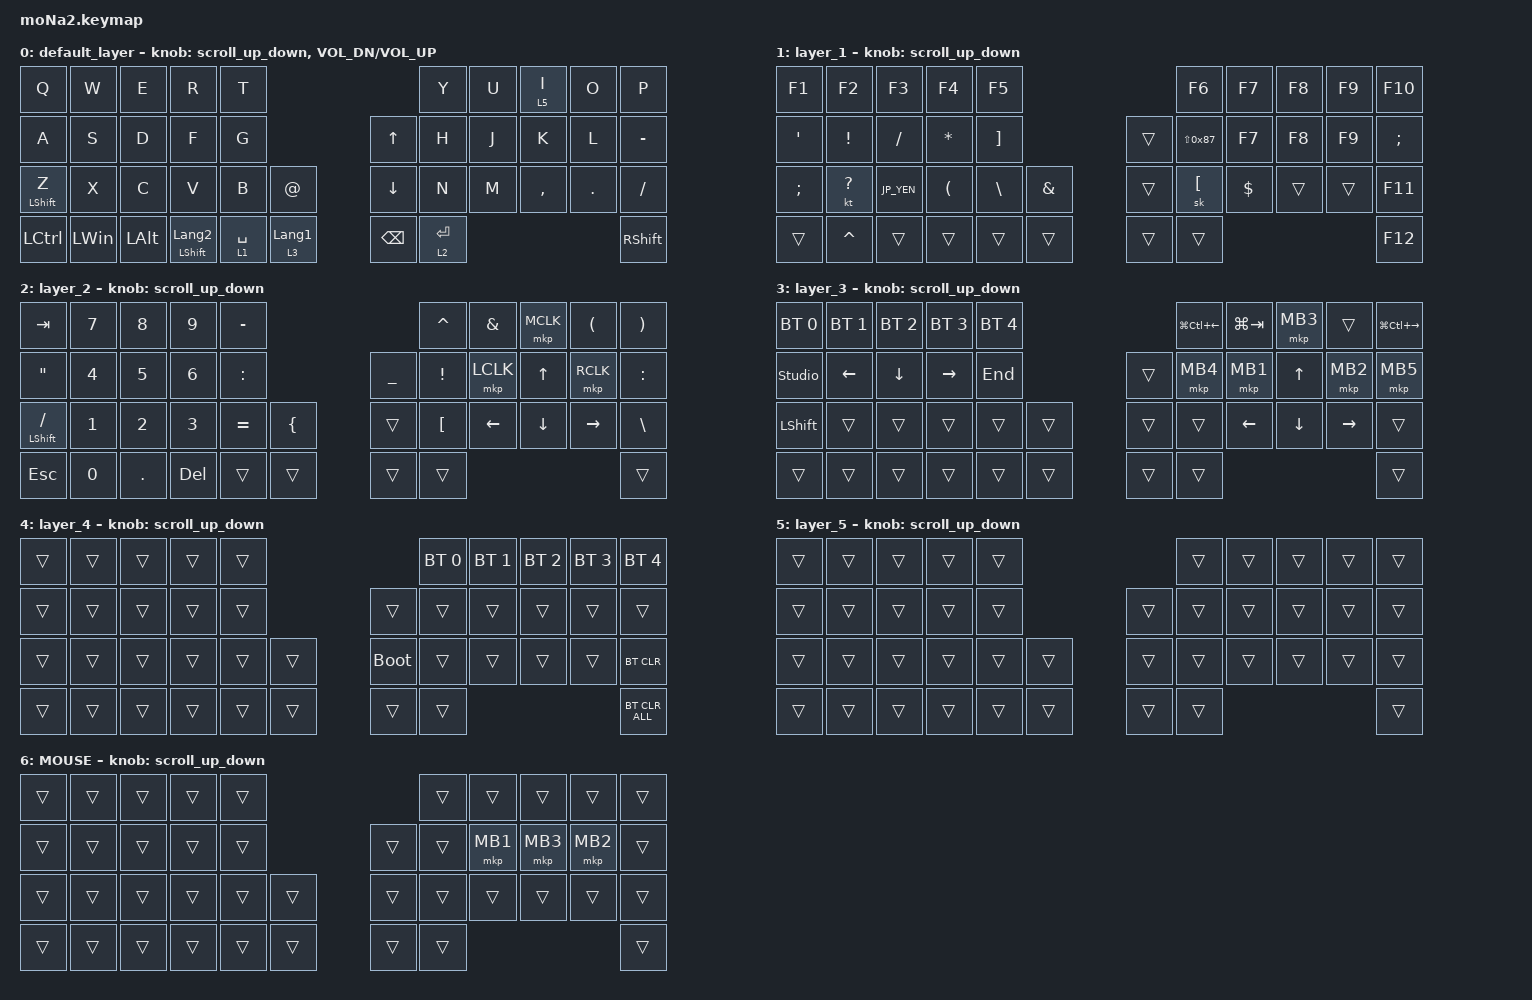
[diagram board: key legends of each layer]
#include <layout_shift.dtsi>
#include <behaviors.dtsi>
#include <dt-bindings/zmk/bt.h>
#include <dt-bindings/zmk/keys.h>
#include <dt-bindings/zmk/pointing.h>

#define ZMK_POINTING_DEFAULT_SCRL_VAL 100
#define MOUSE 6

// OS設定を日本語キーボードのまま使用するための変換定義

#define JP_DQUOTE       AT                // "
#define JP_AMPERSAND    CARET             // &
#define JP_QUOTE        AMPERSAND         // '
#define JP_EQUAL        UNDER             // =
#define JP_CARET        EQUAL             // ^
#define JP_YEN          0x89              // ¥
#define JP_PLUS         COLON             // +
#define JP_TILDE        PLUS              // ~
#define JP_PIPE         LS(0x89)          // |
#define JP_AT           LEFT_BRACKET      // @
#define JP_COLON        SINGLE_QUOTE      // :
#define JP_ASTERISK     DOUBLE_QUOTES     // *
#define JP_BACKQUOTE    LEFT_BRACE        // `
#define JP_UNDERSCORE   LS(0x87)          // _
#define JP_LBRACKET     RIGHT_BRACKET     // [
#define JP_RBRACKET     BACKSLASH         // ]
#define JP_LPAREN       ASTERISK          // (
#define JP_RPAREN       LEFT_PARENTHESIS  // )
#define JP_LBRACE       RIGHT_BRACE       // {
#define JP_RBRACE       PIPE              // }
#define JP_KANA         LANGUAGE_1        // かな
#define JP_EISU         LANGUAGE_2        // 英数
#define JP_HANZEN       GRAVE             // 半角/全角

&mt {
    flavor = "balanced";
    quick-tap-ms = <0>;
};

/ {
    combos { compatible = "zmk,combos"; };

    macros {
        to_layer_0: to_layer_0 {
            compatible = "zmk,behavior-macro-one-param";
            #binding-cells = <1>;
            bindings = <&to 0 &macro_param_1to1 &kp MACRO_PLACEHOLDER>;
            label = "TO_LAYER_0";
        };
    };

    behaviors {
        lt_to_layer_0: lt_to_layer_0 {
            compatible = "zmk,behavior-hold-tap";
            label = "LAYER_TAP_TO_0";
            bindings = <&mo>, <&to_layer_0>;

            #binding-cells = <2>;
            tapping-term-ms = <200>;
        };

        scroll_up_down: behavior_sensor_rotate_mouse_wheel_up_down {
            compatible = "zmk,behavior-sensor-rotate";
            #sensor-binding-cells = <0>;
            bindings = <&msc SCRL_UP>, <&msc SCRL_DOWN>;

            tap-ms = <20>;
        };
    };

    keymap {
        compatible = "zmk,keymap";

        default_layer {
            bindings = <
&kp Q             &kp W         &kp E         &kp R                      &kp T                                           &kp Y        &kp U  &lt 5 I    &kp O    &kp P
&kp A             &kp S         &kp D         &kp F                      &kp G                            &kp UP_ARROW   &kp H        &kp J  &kp K      &kp L    &kp MINUS
&mt LEFT_SHIFT Z  &kp X         &kp C         &kp V                      &kp B        &kp JP_DQUOTE       &kp DOWN       &kp N        &kp M  &kp COMMA  &kp DOT  &kp SLASH
&kp LCTRL         &kp LEFT_WIN  &kp LEFT_ALT  &mt LEFT_SHIFT LANGUAGE_2  &lt 1 SPACE  &lt 3 LANGUAGE_1    &kp BACKSPACE  &lt 2 ENTER                             &kp RIGHT_SHIFT
            >;

            sensor-bindings =
                <&scroll_up_down>,
                <&inc_dec_kp C_VOL_DN C_VOL_UP>;
        };

        layer_1 {
            bindings = <
&kp F1         &kp F2           &kp F3      &kp F4         &kp F5                                   &kp F6             &kp F7      &kp F8  &kp F9  &kp F10
&kp JP_COLON   &kp EXCLAMATION  &kp SLASH   &kp JP_LPAREN  &kp JP_LBRACKET              &trans  &kp JP_UNDERSCORE  &kp F7      &kp F8  &kp F9  &kp SEMICOLON
&kp SEMICOLON  &kt QUESTION     &kp JP_YEN  &kp JP_RPAREN  &kp JP_RBRACKET  &kp JP_QUOTE    &trans  &sk JP_AT          &kp DOLLAR  &trans  &trans  &kp F11
&trans         &kp CARET        &trans      &trans         &trans           &trans          &trans  &trans                                         &kp F12
            >;

            sensor-bindings = <&scroll_up_down>;
        };

        layer_2 {
            bindings = <
&kp TAB               &kp N7        &kp N8        &kp N9        &kp MINUS                                               &kp CARET         &kp AMPERSAND  &mkp MCLK     &kp LEFT_PARENTHESIS  &kp RIGHT_PARENTHESIS
&kp JP_ASTERISK       &kp NUMBER_4  &kp N5        &kp NUMBER_6  &kp JP_PLUS                               &kp UNDERSCORE  &kp EXCLAMATION   &mkp LCLK      &kp UP_ARROW  &mkp RCLK             &kp COLON
&mt LEFT_SHIFT SLASH  &kp NUMBER_1  &kp NUMBER_2  &kp NUMBER_3  &kp EQUAL    &kp JP_BACKQUOTE           &trans          &kp LEFT_BRACKET  &kp LEFT       &kp DOWN      &kp RIGHT_ARROW       &kp BACKSLASH
&kp ESC               &kp NUMBER_0  &kp DOT       &kp DEL       &trans       &trans                     &trans          &trans                                                               &trans
            >;

            sensor-bindings = <&scroll_up_down>;
        };

        layer_3 {
            bindings = <
&bt BT_SEL 0    &bt BT_SEL 1    &bt BT_SEL 2    &bt BT_SEL 3     &bt BT_SEL 4                    &kp LG(LC(LEFT))  &kp LG(TAB)  &mkp MB3  &trans     &kp LG(LC(RIGHT))
&studio_unlock  &kp LEFT_ARROW  &kp DOWN_ARROW  &kp RIGHT_ARROW  &kp END                 &trans  &mkp MB4          &mkp MB1     &kp UP    &mkp MB2   &mkp MB5
&kp LEFT_SHIFT  &trans          &trans          &trans           &trans        &trans    &trans  &trans            &kp LEFT     &kp DOWN  &kp RIGHT  &trans
&trans          &trans          &trans          &trans           &trans        &trans    &trans  &trans                                              &trans
            >;

            sensor-bindings = <&scroll_up_down>;
        };

        layer_4 {
            bindings = <
&trans  &trans  &trans  &trans  &trans                         &bt BT_SEL 0  &bt BT_SEL 1  &bt BT_SEL 2  &bt BT_SEL 3  &bt BT_SEL 4
&trans  &trans  &trans  &trans  &trans              &trans       &trans        &trans        &trans        &trans        &trans
&trans  &trans  &trans  &trans  &trans  &trans    &bootloader  &trans        &trans        &trans        &trans        &bt BT_CLR
&trans  &trans  &trans  &trans  &trans  &trans    &trans       &trans                                                  &bt BT_CLR_ALL
            >;

            sensor-bindings = <&scroll_up_down>;
        };

        layer_5 {
            bindings = <
&trans  &trans  &trans  &trans  &trans                    &trans  &trans  &trans  &trans  &trans
&trans  &trans  &trans  &trans  &trans            &trans  &trans  &trans  &trans  &trans  &trans
&trans  &trans  &trans  &trans  &trans  &trans    &trans  &trans  &trans  &trans  &trans  &trans
&trans  &trans  &trans  &trans  &trans  &trans    &trans  &trans                          &trans
            >;

            sensor-bindings = <&scroll_up_down>;
        };

        MOUSE {
            bindings = <
&trans  &trans  &trans  &trans  &trans                    &trans  &trans    &trans    &trans    &trans
&trans  &trans  &trans  &trans  &trans            &trans  &trans  &mkp MB1  &mkp MB3  &mkp MB2  &trans
&trans  &trans  &trans  &trans  &trans  &trans    &trans  &trans  &trans    &trans    &trans    &trans
&trans  &trans  &trans  &trans  &trans  &trans    &trans  &trans                                &trans
            >;

            sensor-bindings = <&scroll_up_down>;
        };
    };
};
